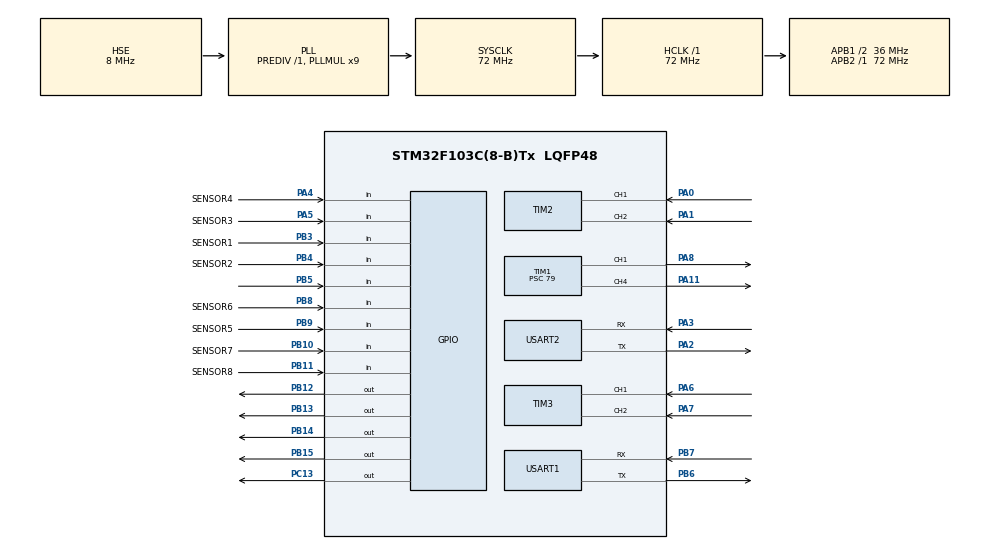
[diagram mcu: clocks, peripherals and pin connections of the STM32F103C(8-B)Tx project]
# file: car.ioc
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Mcu.Family=STM32F1
Mcu.Name=STM32F103C(8-B)Tx
Mcu.Package=LQFP48
NVIC.PriorityGroup=NVIC_PRIORITYGROUP_4
NVIC.TIM4_IRQn=true\:0\:0\:false\:false\:true\:true\:true\:true
PA0-WKUP.Signal=S_TIM2_CH1_ETR
PA1.Signal=S_TIM2_CH2
PA11.Signal=S_TIM1_CH4
PA13.Mode=Serial_Wire
PA13.Signal=SYS_JTMS-SWDIO
PA14.Mode=Serial_Wire
PA14.Signal=SYS_JTCK-SWCLK
PA2.Mode=Asynchronous
PA2.Signal=USART2_TX
PA3.Mode=Asynchronous
PA3.Signal=USART2_RX
PA4.GPIO_Label=SENSOR4
PA4.GPIO_PuPd=GPIO_PULLUP
PA4.Signal=GPIO_Input
PA5.GPIO_Label=SENSOR3
PA5.GPIO_PuPd=GPIO_PULLUP
PA5.Signal=GPIO_Input
PA6.Signal=S_TIM3_CH1
PA7.Signal=S_TIM3_CH2
PA8.Signal=S_TIM1_CH1
PB10.GPIO_Label=SENSOR7
PB10.GPIO_PuPd=GPIO_PULLUP
PB10.Signal=GPIO_Input
PB11.GPIO_Label=SENSOR8
PB11.GPIO_PuPd=GPIO_PULLUP
PB11.Signal=GPIO_Input
PB12.Signal=GPIO_Output
PB13.Signal=GPIO_Output
PB14.Signal=GPIO_Output
PB15.Signal=GPIO_Output
PB3.GPIO_Label=SENSOR1
PB3.GPIO_PuPd=GPIO_PULLUP
PB3.Signal=GPIO_Input
PB4.GPIO_Label=SENSOR2
PB4.GPIO_PuPd=GPIO_PULLUP
PB4.Signal=GPIO_Input
PB5.Signal=GPIO_Input
PB6.Mode=Asynchronous
PB6.Signal=USART1_TX
PB7.Mode=Asynchronous
PB7.Signal=USART1_RX
PB8.GPIO_Label=SENSOR6
PB8.GPIO_PuPd=GPIO_PULLUP
PB8.Signal=GPIO_Input
PB9.GPIO_Label=SENSOR5
PB9.GPIO_PuPd=GPIO_PULLUP
PB9.Signal=GPIO_Input
PC13-TAMPER-RTC.Signal=GPIO_Output
PC14-OSC32_IN.Mode=LSE-External-Oscillator
PC14-OSC32_IN.Signal=RCC_OSC32_IN
PC15-OSC32_OUT.Mode=LSE-External-Oscillator
PC15-OSC32_OUT.Signal=RCC_OSC32_OUT
PD0-OSC_IN.Mode=HSE-External-Oscillator
PD0-OSC_IN.Signal=RCC_OSC_IN
PD1-OSC_OUT.Mode=HSE-External-Oscillator
PD1-OSC_OUT.Signal=RCC_OSC_OUT
ProjectManager.HeapSize=0x200
ProjectManager.StackSize=0x400
ProjectManager.TargetToolchain=MDK-ARM V5.32
RCC.AHBFreq_Value=72000000
RCC.APB1CLKDivider=RCC_HCLK_DIV2
RCC.APB1Freq_Value=36000000
RCC.APB1TimFreq_Value=72000000
RCC.APB2Freq_Value=72000000
RCC.APB2TimFreq_Value=72000000
RCC.HCLKFreq_Value=72000000
RCC.PLLMUL=RCC_PLL_MUL9
RCC.PLLSourceVirtual=RCC_PLLSOURCE_HSE
RCC.SYSCLKFreq_VALUE=72000000
RCC.SYSCLKSource=RCC_SYSCLKSOURCE_PLLCLK
RCC.USBFreq_Value=72000000
SH.S_TIM1_CH1.0=TIM1_CH1,PWM Generation1 CH1
SH.S_TIM1_CH4.0=TIM1_CH4,PWM Generation4 CH4
SH.S_TIM2_CH1_ETR.0=TIM2_CH1,Input_Capture1_from_TI1
SH.S_TIM2_CH2.0=TIM2_CH2,Input_Capture2_from_TI2
SH.S_TIM3_CH1.0=TIM3_CH1,Input_Capture1_from_TI1
SH.S_TIM3_CH2.0=TIM3_CH2,Input_Capture2_from_TI2
TIM1.Channel-PWM\ Generation1\ CH1=TIM_CHANNEL_1
TIM1.Channel-PWM\ Generation4\ CH4=TIM_CHANNEL_4
TIM1.Period=999
TIM1.Prescaler=79
TIM1.Pulse-PWM\ Generation1\ CH1=500
TIM1.Pulse-PWM\ Generation4\ CH4=500
TIM2.Channel-Input_Capture1_from_TI1=TIM_CHANNEL_1
TIM2.Channel-Input_Capture2_from_TI2=TIM_CHANNEL_2
TIM2.ICFilter_CH1=10
TIM2.ICFilter_CH2=10
TIM3.Channel-Input_Capture1_from_TI1=TIM_CHANNEL_1
TIM3.Channel-Input_Capture2_from_TI2=TIM_CHANNEL_2
TIM3.ICFilter_CH1=10
TIM3.ICFilter_CH2=10
TIM4.Period=1000-1
TIM4.Prescaler=72-1
USART1.VirtualMode=VM_ASYNC
USART2.VirtualMode=VM_ASYNC
VP_TIM1_VS_ClockSourceINT.Mode=Internal
VP_TIM2_VS_ClockSourceINT.Mode=Internal
VP_TIM3_VS_ClockSourceINT.Mode=Internal
VP_TIM4_VS_ClockSourceINT.Mode=Internal
board=custom

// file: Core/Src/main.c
/* USER CODE BEGIN Header */
/**
  ******************************************************************************
  * @file           : main.c
  * @brief          : Main program body
  ******************************************************************************
  * @attention
  *
  * Copyright (c) 2024 STMicroelectronics.
  * All rights reserved.
  *
  * This software is licensed under terms that can be found in the LICENSE file
  * in the root directory of this software component.
  * If no LICENSE file comes with this software, it is provided AS-IS.
  *
  ******************************************************************************
  */
/* USER CODE END Header */
#include "main.h"
#include "tim.h"
#include "usart.h"
#include "gpio.h"

/* USER CODE BEGIN Includes */
#include "control.h"
#include "motor.h"
#include "pid.h"
/* USER CODE END Includes */

/* USER CODE BEGIN PV */
int   Encoder_Left,Encoder_Right;         		 //左右编码器的脉冲计数
int 	Moto1=0,Moto2=0,Target_A=0,Target_B=0;												 //计算出来的最终赋给电机的PWM
int Velocity=0,Turn=0;

/* USER CODE END PV */

void SystemClock_Config(void);

int main(void)
{

  /* MCU Configuration--------------------------------------------------------*/

  /* Reset of all peripherals, Initializes the Flash interface and the Systick. */
  HAL_Init();

  /* Configure the system clock */
  SystemClock_Config();

  /* Initialize all configured peripherals */
  MX_GPIO_Init();
  MX_USART2_UART_Init();
  MX_TIM2_Init();
  MX_TIM3_Init();
  MX_TIM4_Init();
  MX_TIM1_Init();
  MX_USART1_UART_Init();
  /* USER CODE BEGIN 2 */
	HAL_TIM_Base_Start_IT(&htim4);
	HAL_TIM_PWM_Start(&htim1,TIM_CHANNEL_1);
	HAL_TIM_PWM_Start(&htim1,TIM_CHANNEL_4);
	__HAL_TIM_SET_COMPARE (&htim1, TIM_CHANNEL_1, 0);
	__HAL_TIM_SET_COMPARE (&htim1, TIM_CHANNEL_4, 0);
  /* USER CODE END 2 */

  /* Infinite loop */
  while (1)
  {

	}
}

void SystemClock_Config(void)
{
  RCC_OscInitTypeDef RCC_OscInitStruct = {0};
  RCC_ClkInitTypeDef RCC_ClkInitStruct = {0};

  /** Initializes the RCC Oscillators according to the specified parameters
  * in the RCC_OscInitTypeDef structure.
  */
  RCC_OscInitStruct.OscillatorType = RCC_OSCILLATORTYPE_HSE;
  RCC_OscInitStruct.HSEState = RCC_HSE_ON;
  RCC_OscInitStruct.HSEPredivValue = RCC_HSE_PREDIV_DIV1;
  RCC_OscInitStruct.HSIState = RCC_HSI_ON;
  RCC_OscInitStruct.PLL.PLLState = RCC_PLL_ON;
  RCC_OscInitStruct.PLL.PLLSource = RCC_PLLSOURCE_HSE;
  RCC_OscInitStruct.PLL.PLLMUL = RCC_PLL_MUL9;
  if (HAL_RCC_OscConfig(&RCC_OscInitStruct) != HAL_OK)
  {
    Error_Handler();
  }

  /** Initializes the CPU, AHB and APB buses clocks
  */
  RCC_ClkInitStruct.ClockType = RCC_CLOCKTYPE_HCLK|RCC_CLOCKTYPE_SYSCLK
                              |RCC_CLOCKTYPE_PCLK1|RCC_CLOCKTYPE_PCLK2;
  RCC_ClkInitStruct.SYSCLKSource = RCC_SYSCLKSOURCE_PLLCLK;
  RCC_ClkInitStruct.AHBCLKDivider = RCC_SYSCLK_DIV1;
  RCC_ClkInitStruct.APB1CLKDivider = RCC_HCLK_DIV2;
  RCC_ClkInitStruct.APB2CLKDivider = RCC_HCLK_DIV1;

  if (HAL_RCC_ClockConfig(&RCC_ClkInitStruct, FLASH_LATENCY_2) != HAL_OK)
  {
    Error_Handler();
  }
}

/* USER CODE BEGIN 4 */

#include <stdio.h>

int fputc(int ch, FILE *f)
{
	HAL_UART_Transmit(&huart2, (uint8_t *)&ch, 1, 0xFFFF);
  return ch;
}
/* USER CODE END 4 */

void Error_Handler(void)
{
  __disable_irq();
  while (1)
  {
  }
}
